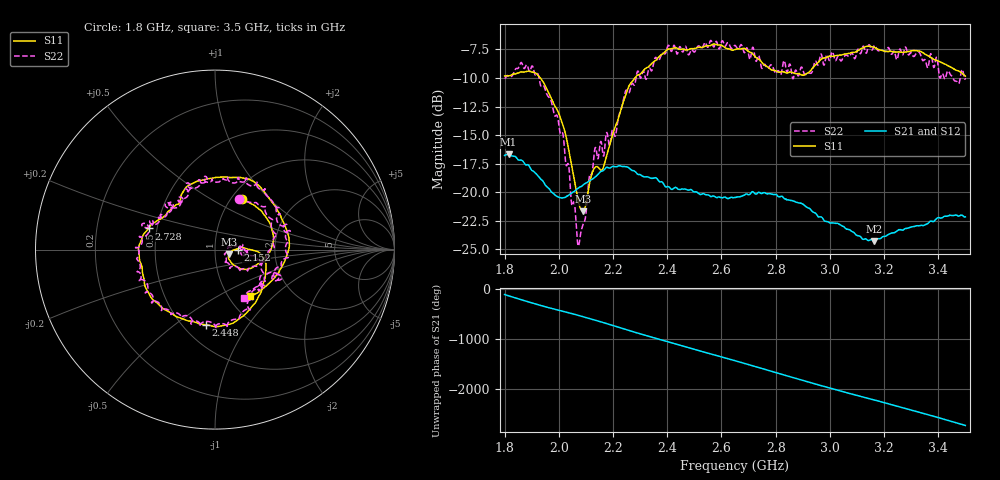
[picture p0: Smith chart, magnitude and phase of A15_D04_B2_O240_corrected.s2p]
! Created with skrf 1.9.0 (http://scikit-rf.org).
# Hz S RI R 50.0
!freq ReS11 ImS11 ReS21 ImS21 ReS12 ImS12 ReS22 ImS22
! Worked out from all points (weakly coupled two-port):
!   1601 points, 1.8 GHz to 3.5 GHz, reference 50 ohm
!   highest |S21| = -16.70 dB at 1.815 GHz (marker M1); lowest = -24.3 dB at 3.163 GHz (marker M2)
!   lowest |S11| = -21.7 dB at 2.09 GHz (marker M3), VSWR 1.18, Z = 58.5 - j2.95 ohm
!   |S11| at or under -10 dB: 1.932 GHz to 2.28 GHz (348.3 MHz wide, 16.5 % of centre)
!   |S22| runs from -24.7 to -6.7 dB; largest |S21 - S12| = 0.0023
!   S11 on the Smith chart (normalised r, x): 1.8 GHz: 1.12, +0.71; 2.152 GHz: 1.29, -0.00; 2.448 GHz: 0.64, -0.65; 2.728 GHz: 0.45, +0.12; 3.5 GHz: 1.25, -0.72
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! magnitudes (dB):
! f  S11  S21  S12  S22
! 1.8 GHz  -9.8  -16.8  -16.8  -10.0
! 1.815 GHz  -9.8  -16.7  -16.7  -9.8
! 1.902 GHz  -9.5  -18.1  -18.1  -9.0
! 1.967 GHz  -11.5  -19.8  -19.8  -11.8
! 2.014 GHz  -14.0  -20.5  -20.5  -14.8
! 2.071 GHz  -20.7  -19.7  -19.7  -24.7
! 2.084 GHz  -21.6  -19.5  -19.4  -23.2
! 2.09 GHz  -21.7  -19.4  -19.4  -22.8
! 2.13 GHz  -17.9  -18.7  -18.7  -16.6
! 2.152 GHz  -18.0  -18.3  -18.3  -15.9
! 2.209 GHz  -14.2  -17.8  -17.7  -15.1
! 2.26 GHz  -10.7  -17.9  -17.9  -11.3
! 2.367 GHz  -8.2  -19.0  -18.9  -8.5
! 2.448 GHz  -7.5  -19.8  -19.8  -7.3
! 2.65 GHz  -7.5  -20.5  -20.4  -7.1
! 2.728 GHz  -8.2  -20.2  -20.2  -8.5
! 2.934 GHz  -9.2  -21.7  -21.6  -9.5
! 3.163 GHz  -7.3  -24.3  -24.2  -7.2
! 3.217 GHz  -7.7  -23.7  -23.6  -7.4
! 3.333 GHz  -7.7  -22.9  -22.9  -7.9
! 3.413 GHz  -8.7  -22.3  -22.2  -9.7
! 3.5 GHz  -9.8  -22.2  -22.2  -10.0
